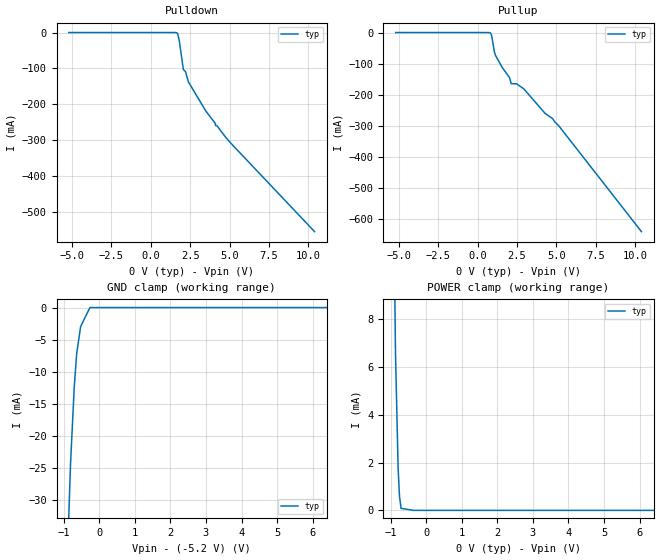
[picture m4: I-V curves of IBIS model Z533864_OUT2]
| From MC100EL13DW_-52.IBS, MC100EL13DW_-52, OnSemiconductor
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| (C) COPYRIGHT 1993-2000
| MENTOR GRAPHICS CORPORATION
| ICX STANDARD LIBRARY, ICX PROJECT MODELING,
| ICX CUSTOM MODELING, ICX VENDOR MODEL
| ALL RIGHTS RESERVED.
| THE FOLLOWING ARE TRADEMARKS OR SERVICE MARKS OF
| MENTOR GRAPHICS CORPORATION:ICX (R), ICX STANDARD
| LIBRARY(R), ICX PROJECT MODELING(R), ICX CUSTOM
| MODELING(R), qualityIBIS(TM), MODELVIEWER(TM),
| AND MODELEDITOR(TM)
| ALL COPIES OF SOFTWARE, INCLUDING BUT NOT LIMITED TO
| ANY MODIFICATIONS, ENHANCEMENTS OR DERIVATIVE WORKS,
| MUST CONTAIN ALL MENTOR GRAPHICS CORPORATION'S
| NOTICES AND LEGENDS, INCLUDING THOSE EMBEDDED IN
| SOFTWARE AND THOSE AFFIXED TO SOFTWARE MEDIUM
| AND CONTAINER, AS RECEIVED FROM MENTOR GRAPHICS
| CORPORATION.
| Model Application Version 1.89 2/18/99.
[Model] Z533864_OUT2
Model_type Output_ECL
Vref=-2.000V
Rref=50.00ohms
Cref=0.000F
Vmeas=-1.320V
C_comp 8.000pF NA NA
| variable typ   min   max
[Voltage Range] -5.200V NA NA
[POWER Clamp Reference] 0.000V NA NA
[Pullup Reference] 0.000V NA NA
[Pulldown Reference] 0.000V NA NA
[GND Clamp Reference] -5.200V NA NA
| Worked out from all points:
|   POWER clamp passes 1 mA (typ) near -0.76 V on its own axis
[GND Clamp]
-5.2V     -755mA     NA         NA
-806mV    -24.33mA   NA         NA
-703mV    -12.51mA   NA         NA
-635mV    -7.264mA   NA         NA
-523mV    -2.964mA   NA         NA
-261.5mV  0A         NA         NA
10.4V     0A         NA         NA
[Pulldown]
-5.2V     224.3uA    NA         NA
1.704V    -2.535mA   NA         NA
1.806V    -20.56mA   NA         NA
2.07V     -102.8mA   NA         NA
2.206V    -109mA     NA         NA
2.393V    -137.7mA   NA         NA
3.503V    -219.3mA   NA         NA
4.087V    -252.8mA   NA         NA
4.123V    -259.6mA   NA         NA
4.238V    -261.3mA   NA         NA
5.117V    -310.2mA   NA         NA
10.4V     -555.5mA   NA         NA
[Pullup]
-5.2V     182.2uA    NA         NA
808.8mV   -1.142mA   NA         NA
894.9mV   -10.84mA   NA         NA
1.059V    -61.04mA   NA         NA
1.128V    -72.62mA   NA         NA
2.026V    -144.8mA   NA         NA
2.132V    -164.5mA   NA         NA
2.466V    -164.7mA   NA         NA
2.927V    -180.8mA   NA         NA
4.285V    -260.2mA   NA         NA
4.756V    -276.5mA   NA         NA
10.4V     -640.6mA   NA         NA
[POWER Clamp]
-5.2V     1.138A     NA         NA
-1.611V   250mA      NA         NA
-1.538V   224.4mA    NA         NA
-1.27V    107.9mA    NA         NA
-1.113V   51.14mA    NA         NA
-1.001V   24.3mA     NA         NA
-859.3mV  6.524mA    NA         NA
-786mV    1.757mA    NA         NA
-747.3mV  590.9uA    NA         NA
-703.6mV  84.4uA     NA         NA
-351.8mV  0A         NA         NA
10.4V     0A         NA         NA
[Ramp]
| variable typ min max
dV/dt_r 475.1m/582.0p NA NA
dV/dt_f 475.1m/766.9p NA NA
R_load = 50.00Ohms
